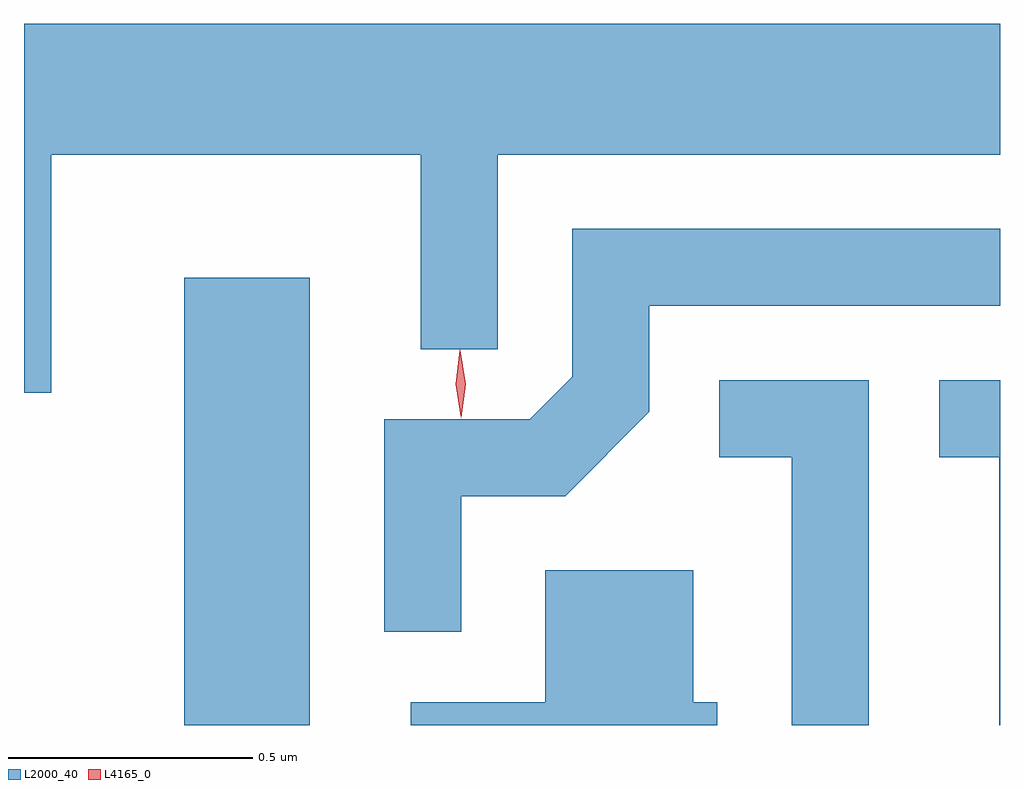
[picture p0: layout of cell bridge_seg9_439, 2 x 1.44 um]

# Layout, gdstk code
import gdstk
lib = gdstk.Library(unit=1e-6, precision=1e-09)
def R(c, l, rs):  # rectangles x0, y0, x1, y1
    for r in rs: c.add(gdstk.rectangle(r[:2], r[2:], *l))
def P(c, l, *ps):  # polygons
    for p in ps: c.add(gdstk.Polygon(p, *l))
L2000_40 = (2000, 40)
L4165_0 = (4165, 0)

bridge_seg9_439 = lib.new_cell('bridge_seg9_439')
R(bridge_seg9_439, L2000_40, [(517.526,2052.807,517.784,2053.724)])
P(bridge_seg9_439, L2000_40, [(517.254,2053.976),(518.011,2053.976),(518.011,2053.577),(518.169,2053.577),(518.169,2053.976),(519.198,2053.976),(519.198,2054.244),(517.198,2054.244),(517.198,2053.488),(517.254,2053.488)],
  [(518.094,2053.276),(518.307,2053.276),(518.479,2053.449),(518.479,2053.666),(519.198,2053.666),(519.198,2053.824),(518.321,2053.824),(518.321,2053.521),(518.234,2053.434),(517.936,2053.434),(517.936,2052.998),(518.094,2052.998)],
  [(519.198,2053.514),(519.073,2053.514),(519.073,2053.356),(519.196,2053.356),(519.196,2052.807),(519.198,2052.807)],
  [(518.929,2053.514),(518.623,2053.514),(518.623,2053.356),(518.771,2053.356),(518.771,2052.807),(518.929,2052.807)],
  [(518.619,2052.854),(518.569,2052.854),(518.569,2053.124),(518.266,2053.124),(518.266,2052.854),(517.991,2052.854),(517.991,2052.807),(518.619,2052.807)])
P(bridge_seg9_439, L4165_0, [(518.094,2053.437),(518.094,2053.437),(518.083,2053.506),(518.091,2053.575),(518.092,2053.576),(518.092,2053.575),(518.103,2053.506),(518.094,2053.437)],
  [(518.094,2053.439),(518.093,2053.44),(518.083,2053.506),(518.091,2053.572),(518.092,2053.572),(518.092,2053.572),(518.103,2053.506),(518.094,2053.44)])

lib.write_gds('bridge_seg9_439.gds')
